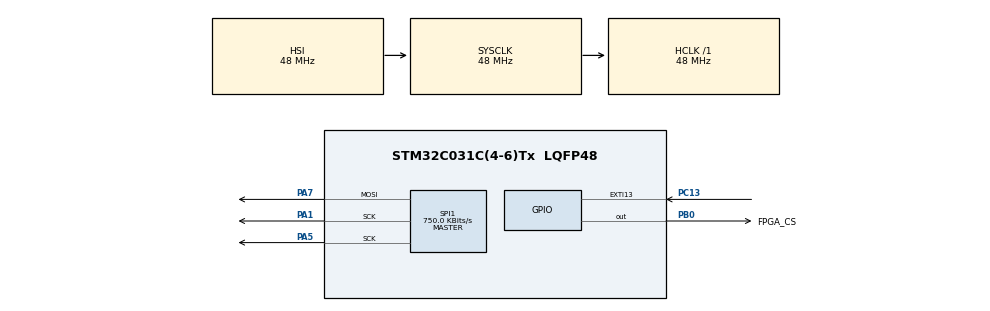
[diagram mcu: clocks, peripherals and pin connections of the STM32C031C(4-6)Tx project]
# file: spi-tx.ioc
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Mcu.Family=STM32C0
Mcu.Name=STM32C031C(4-6)Tx
Mcu.Package=LQFP48
NUCLEO-C031C6.BUTTON=1
NUCLEO-C031C6.LD4=true
NUCLEO-C031C6.VCP=true
NVIC.EXTI4_15_IRQn=true\:0\:0\:false\:false\:true\:true\:true\:true
PA1.Mode=TX_Only_Simplex_Unidirect_Master
PA1.Signal=SPI1_SCK
PA13.GPIO_Label=DEBUG_SWDIO
PA13.Mode=Serial_Wire
PA13.Signal=DEBUG_SWDIO
PA14-BOOT0.GPIO_Label=DEBUG_SWCLK
PA14-BOOT0.Mode=Serial_Wire
PA14-BOOT0.Signal=DEBUG_SWCLK
PA2.Signal=USART2_TX
PA3.Signal=USART2_RX
PA5.Mode=TX_Only_Simplex_Unidirect_Master
PA5.Signal=SPI1_SCK
PA7.Mode=TX_Only_Simplex_Unidirect_Master
PA7.Signal=SPI1_MOSI
PB0.GPIO_Label=FPGA_CS
PB0.Signal=GPIO_Output
PC13.Signal=GPXTI13
PC14-OSCX_IN\ (PC14).GPIO_Label=RCC_OSCX_IN
PC14-OSCX_IN\ (PC14).Signal=RCC_OSCX_IN
PC15-OSCX_OUT\ (PC15).GPIO_Label=RCC_OSCX_OUT
PC15-OSCX_OUT\ (PC15).Signal=RCC_OSCX_OUT
PF0-OSC_IN\ (PF0).GPIO_Label=RCC_OSC_IN
PF0-OSC_IN\ (PF0).Signal=RCC_OSC_IN
PF1-OSC_OUT\ (PF1).GPIO_Label=RCC_OSC_OUT
PF1-OSC_OUT\ (PF1).Signal=RCC_OSC_OUT
ProjectManager.HeapSize=0x200
ProjectManager.StackSize=0x400
ProjectManager.TargetToolchain=STM32CubeIDE
RCC.ADCFreq_Value=48000000
RCC.AHBFreq_Value=48000000
RCC.CortexFreq_Value=48000000
RCC.EXTERNAL_CLOCK_VALUE=12288000
RCC.HCLKFreq_Value=48000000
RCC.HSE_VALUE=48000000
RCC.HSISYSCLKDivider=RCC_HSI_DIV1
RCC.HSI_VALUE=48000000
RCC.SYSCLKFreq_VALUE=48000000
SPI1.BaudRatePrescaler=SPI_BAUDRATEPRESCALER_64
SPI1.CalculateBaudRate=750.0 KBits/s
SPI1.DataSize=SPI_DATASIZE_8BIT
SPI1.Direction=SPI_DIRECTION_2LINES
SPI1.Mode=SPI_MODE_MASTER
SPI1.VirtualType=VM_MASTER
VP_NUCLEO-C031C6_VS_BSP_COMMON.Mode=COMMON
board=NUCLEO-C031C6

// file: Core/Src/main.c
/* USER CODE BEGIN Header */
/**
  ******************************************************************************
  * @file           : main.c
  * @brief          : Main program body
  ******************************************************************************
  * @attention
  *
  * Copyright (c) 2026 STMicroelectronics.
  * All rights reserved.
  *
  * This software is licensed under terms that can be found in the LICENSE file
  * in the root directory of this software component.
  * If no LICENSE file comes with this software, it is provided AS-IS.
  *
  ******************************************************************************
  */
/* USER CODE END Header */
#include "main.h"

COM_InitTypeDef BspCOMInit;

SPI_HandleTypeDef hspi1;

/* USER CODE BEGIN PV */
#define NUM_SAMPLES 1024
static uint8_t tx_buffer[NUM_SAMPLES * 2];
/* USER CODE END PV */

void SystemClock_Config(void);
static void MX_GPIO_Init(void);
static void MX_SPI1_Init(void);

/* USER CODE BEGIN 0 */
static volatile uint8_t send_requested = 0;
/* USER CODE END 0 */

int main(void)
{

  /* MCU Configuration--------------------------------------------------------*/

  /* Reset of all peripherals, Initializes the Flash interface and the Systick. */
  HAL_Init();

  /* Configure the system clock */
  SystemClock_Config();

  /* Initialize all configured peripherals */
  MX_GPIO_Init();
  MX_SPI1_Init();
  /* USER CODE BEGIN 2 */
  /* 1024 samples, each equal to 100 (0x0064). */
  for (uint16_t i = 0; i < NUM_SAMPLES; i++)
  {
      tx_buffer[2 * i]     = 0x00;
      tx_buffer[2 * i + 1] = 0x64;
  }

  /* USER CODE END 2 */

  /* Initialize leds */
  BSP_LED_Init(LED_GREEN);

  /* Initialize USER push-button, will be used to trigger an interrupt each time it's pressed.*/
  BSP_PB_Init(BUTTON_USER, BUTTON_MODE_EXTI);

  /* Initialize COM1 port (115200, 8 bits (7-bit data + 1 stop bit), no parity */
  BspCOMInit.BaudRate   = 115200;
  BspCOMInit.WordLength = COM_WORDLENGTH_8B;
  BspCOMInit.StopBits   = COM_STOPBITS_1;
  BspCOMInit.Parity     = COM_PARITY_NONE;
  BspCOMInit.HwFlowCtl  = COM_HWCONTROL_NONE;
  if (BSP_COM_Init(COM1, &BspCOMInit) != BSP_ERROR_NONE)
  {
    Error_Handler();
  }

  /* Infinite loop */
  while (1)
  {

    /* USER CODE BEGIN 3 */
	  if (send_requested)
	  {
	      send_requested = 0;

	      /* Simple debounce */
	      HAL_Delay(50);
	      send_requested = 0;

	      HAL_GPIO_WritePin(FPGA_CS_GPIO_Port, FPGA_CS_Pin, GPIO_PIN_RESET);
	      HAL_Delay(1);

	      HAL_StatusTypeDef status = HAL_SPI_Transmit(&hspi1, tx_buffer, sizeof(tx_buffer), 1000);

	      HAL_GPIO_WritePin(FPGA_CS_GPIO_Port, FPGA_CS_Pin, GPIO_PIN_SET);

	      if (status != HAL_OK)
	      {
	          Error_Handler();
	      }
	  }
  }
  /* USER CODE END 3 */
}

void SystemClock_Config(void)
{
  RCC_OscInitTypeDef RCC_OscInitStruct = {0};
  RCC_ClkInitTypeDef RCC_ClkInitStruct = {0};

  __HAL_FLASH_SET_LATENCY(FLASH_LATENCY_1);

  /** Initializes the RCC Oscillators according to the specified parameters
  * in the RCC_OscInitTypeDef structure.
  */
  RCC_OscInitStruct.OscillatorType = RCC_OSCILLATORTYPE_HSI;
  RCC_OscInitStruct.HSIState = RCC_HSI_ON;
  RCC_OscInitStruct.HSIDiv = RCC_HSI_DIV1;
  RCC_OscInitStruct.HSICalibrationValue = RCC_HSICALIBRATION_DEFAULT;
  if (HAL_RCC_OscConfig(&RCC_OscInitStruct) != HAL_OK)
  {
    Error_Handler();
  }

  /** Initializes the CPU, AHB and APB buses clocks
  */
  RCC_ClkInitStruct.ClockType = RCC_CLOCKTYPE_HCLK|RCC_CLOCKTYPE_SYSCLK
                              |RCC_CLOCKTYPE_PCLK1;
  RCC_ClkInitStruct.SYSCLKSource = RCC_SYSCLKSOURCE_HSI;
  RCC_ClkInitStruct.SYSCLKDivider = RCC_SYSCLK_DIV1;
  RCC_ClkInitStruct.AHBCLKDivider = RCC_HCLK_DIV1;
  RCC_ClkInitStruct.APB1CLKDivider = RCC_APB1_DIV1;

  if (HAL_RCC_ClockConfig(&RCC_ClkInitStruct, FLASH_LATENCY_1) != HAL_OK)
  {
    Error_Handler();
  }
}

static void MX_SPI1_Init(void)
{

  /* SPI1 parameter configuration*/
  hspi1.Instance = SPI1;
  hspi1.Init.Mode = SPI_MODE_MASTER;
  hspi1.Init.Direction = SPI_DIRECTION_2LINES;
  hspi1.Init.DataSize = SPI_DATASIZE_8BIT;
  hspi1.Init.CLKPolarity = SPI_POLARITY_LOW;
  hspi1.Init.CLKPhase = SPI_PHASE_1EDGE;
  hspi1.Init.NSS = SPI_NSS_SOFT;
  hspi1.Init.BaudRatePrescaler = SPI_BAUDRATEPRESCALER_64;
  hspi1.Init.FirstBit = SPI_FIRSTBIT_MSB;
  hspi1.Init.TIMode = SPI_TIMODE_DISABLE;
  hspi1.Init.CRCCalculation = SPI_CRCCALCULATION_DISABLE;
  hspi1.Init.CRCPolynomial = 7;
  hspi1.Init.CRCLength = SPI_CRC_LENGTH_DATASIZE;
  hspi1.Init.NSSPMode = SPI_NSS_PULSE_ENABLE;
  if (HAL_SPI_Init(&hspi1) != HAL_OK)
  {
    Error_Handler();
  }

}

static void MX_GPIO_Init(void)
{
  GPIO_InitTypeDef GPIO_InitStruct = {0};

  /* GPIO Ports Clock Enable */
  __HAL_RCC_GPIOC_CLK_ENABLE();
  __HAL_RCC_GPIOF_CLK_ENABLE();
  __HAL_RCC_GPIOA_CLK_ENABLE();
  __HAL_RCC_GPIOB_CLK_ENABLE();

  /*Configure GPIO pin Output Level */
  HAL_GPIO_WritePin(FPGA_CS_GPIO_Port, FPGA_CS_Pin, GPIO_PIN_RESET);

  /*Configure GPIO pin : FPGA_CS_Pin */
  GPIO_InitStruct.Pin = FPGA_CS_Pin;
  GPIO_InitStruct.Mode = GPIO_MODE_OUTPUT_PP;
  GPIO_InitStruct.Pull = GPIO_NOPULL;
  GPIO_InitStruct.Speed = GPIO_SPEED_FREQ_LOW;
  HAL_GPIO_Init(FPGA_CS_GPIO_Port, &GPIO_InitStruct);

}

/* USER CODE BEGIN 4 */
void BSP_PB_Callback(Button_TypeDef Button)
{
    if (Button == BUTTON_USER)
    {
        send_requested = 1;
    }
}
/* USER CODE END 4 */

void Error_Handler(void)
{
  __disable_irq();
  while (1)
  {
  }
}
